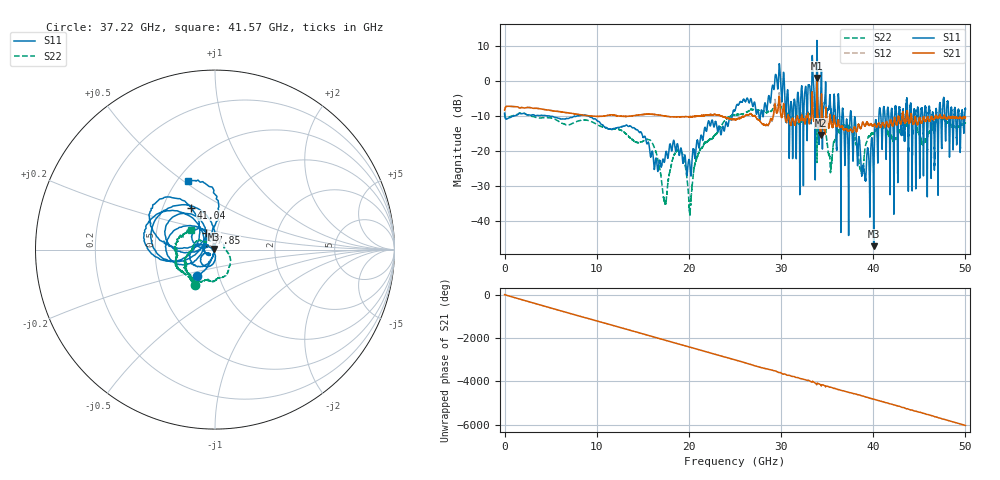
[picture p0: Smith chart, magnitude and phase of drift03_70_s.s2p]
!Created with skrf (http://scikit-rf.org).
# Hz S RI R 50.0
!freq ReS11 ImS11 ReS21 ImS21 ReS12 ImS12 ReS22 ImS22
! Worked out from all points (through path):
!   10001 points, 300 kHz to 50 GHz, reference 50 ohm
!   highest |S21| = 0.76 dB at 33.9 GHz (marker M1); lowest = -15.5 dB at 34.32 GHz (marker M2)
!   group delay of S21, straight-line fit = 335 ps
!   lowest |S11| = -47.3 dB at 40.05 GHz (marker M3), VSWR 1.01, Z = 49.6 + j0.147 ohm
!   |S11| at or under -10 dB: 4.47 GHz to 7.953 GHz (3.483 GHz wide, 56.1 % of centre); 9.037 GHz to 24.7 GHz (15.66 GHz wide, 92.8 % of centre); 37.62 GHz to 40.62 GHz (2.996 GHz wide, 7.66 % of centre) (the widest 3 of 57)
!   |S22| runs from -38.5 to -5.9 dB; largest |S21 - S12| = 0.11
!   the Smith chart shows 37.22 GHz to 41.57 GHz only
!   S11 on the Smith chart (normalised r, x): 37.22 GHz: 0.78, -0.24; 37.85 GHz: 0.89, +0.16; 41.04 GHz: 0.69, +0.35; 41.57 GHz: 0.56, +0.52
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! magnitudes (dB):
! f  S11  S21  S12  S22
! 300 kHz  -9.3  -8.5  -8.5  -9.3
! 8.335 GHz  -9.8  -9.8  -9.8  -11.3
! 16.67 GHz  -25.5  -9.8  -9.8  -23.1
! 17.4 GHz  -22.4  -10.1  -10.1  -35.2
! 19.09 GHz  -19.6  -10.3  -10.3  -20.1
! 20.13 GHz  -24.7  -10.3  -10.3  -37.3
! 21.18 GHz  -18.0  -10.1  -10.1  -19.9
! 25 GHz  -8.5  -11.1  -11.1  -9.9
! 29.66 GHz  -2.3  -8.3  -8.4  -7.1
! 31.08 GHz  -6.1  -12.6  -12.7  -10.5
! 33.34 GHz  0.6  -7.4  -7.5  -9.4
! 33.9 GHz  11.5  0.8  0.3  -23.4
! 34.32 GHz  -2.9  -15.5  -14.9  -11.2
! 35.35 GHz  -6.5  -10.5  -10.1  -25.0
! 37.22 GHz  -15.0  -14.2  -14.4  -12.8
! 37.85 GHz  -19.6  -14.3  -14.3  -14.7
! 38.71 GHz  -25.5  -13.4  -13.2  -25.7
! 40.05 GHz  -47.3  -12.7  -12.8  -15.2
! 41.04 GHz  -11.4  -12.1  -12.1  -13.3
! 41.57 GHz  -7.7  -12.6  -12.6  -15.3
! 41.67 GHz  -9.5  -13.3  -13.2  -15.3
! 50 GHz  -8.2  -10.5  -10.6  -12.2
